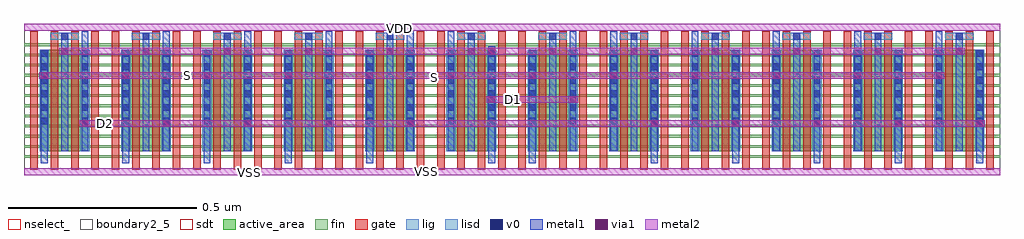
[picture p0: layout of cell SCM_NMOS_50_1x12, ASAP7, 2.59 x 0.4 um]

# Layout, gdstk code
from math import pi, radians
import gdstk
lib = gdstk.Library(unit=1e-6, precision=2.5e-10)
def R(c, l, rs):  # rectangles x0, y0, x1, y1
    for r in rs: c.add(gdstk.rectangle(r[:2], r[2:], *l))
def A(c, l, x, y, w, h, nx, ny, dx, dy):  # array of equal rectangles
    R(c, l, [(x+i*dx, y+j*dy, x+i*dx+w, y+j*dy+h) for i in range(nx) for j in range(ny)])
fin = (2, 0)
gate = (7, 0)
active_area = (11, 0)
nselect_ = (12, 0)
lig = (16, 0)
lisd = (17, 0)
v0 = (18, 0)
metal1 = (19, 0)
metal2 = (20, 0)
via1 = (21, 0)
sdt = (88, 0)
boundary2_5 = (235, 5)

m2_m1_cdns_543803786850 = lib.new_cell('M2_M1_CDNS_543803786850')
R(m2_m1_cdns_543803786850, metal1, [(-0.009,-0.014,0.009,0.014)])
R(m2_m1_cdns_543803786850, metal2, [(-0.014,-0.009,0.014,0.009)])
R(m2_m1_cdns_543803786850, via1, [(-0.009,-0.009,0.009,0.009)])

scm_nmos_50_1x12 = lib.new_cell('SCM_NMOS_50_1x12')
A(scm_nmos_50_1x12, fin, 0, 0.046, 0.216, 0.007, 12, 2, 0.216, 0.081)
A(scm_nmos_50_1x12, fin, 0, 0.154, 0.216, 0.007, 12, 8, 0.216, 0.027)
R(scm_nmos_50_1x12, fin, [(0,0.073,0.216,0.08), (0,0.073,0.216,0.08), (0.216,0.073,0.432,0.08), (0.216,0.073,0.432,0.08), (0.432,0.073,0.648,0.08), (0.432,0.073,0.648,0.08), (0.648,0.073,0.864,0.08), (0.648,0.073,0.864,0.08), (0.864,0.073,1.08,0.08), (0.864,0.073,1.08,0.08), (1.08,0.073,1.296,0.08), (1.08,0.073,1.296,0.08), (1.296,0.073,1.512,0.08), (1.296,0.073,1.512,0.08), (1.512,0.073,1.728,0.08), (1.512,0.073,1.728,0.08), (1.728,0.073,1.944,0.08), (1.728,0.073,1.944,0.08), (1.944,0.073,2.16,0.08), (1.944,0.073,2.16,0.08), (2.16,0.073,2.376,0.08), (2.16,0.073,2.376,0.08), (2.376,0.073,2.592,0.08), (2.376,0.073,2.592,0.08), (0,0.1,0.216,0.107), (0,0.1,0.216,0.107), (0.216,0.1,0.432,0.107), (0.216,0.1,0.432,0.107), (0.432,0.1,0.648,0.107), (0.432,0.1,0.648,0.107), (0.648,0.1,0.864,0.107), (0.648,0.1,0.864,0.107), (0.864,0.1,1.08,0.107), (0.864,0.1,1.08,0.107), (1.08,0.1,1.296,0.107), (1.08,0.1,1.296,0.107), (1.296,0.1,1.512,0.107), (1.296,0.1,1.512,0.107), (1.512,0.1,1.728,0.107), (1.512,0.1,1.728,0.107), (1.728,0.1,1.944,0.107), (1.728,0.1,1.944,0.107), (1.944,0.1,2.16,0.107), (1.944,0.1,2.16,0.107), (2.16,0.1,2.376,0.107), (2.16,0.1,2.376,0.107), (2.376,0.1,2.592,0.107), (2.376,0.1,2.592,0.107)])
A(scm_nmos_50_1x12, gate, 0.017, 0.014, 0.02, 0.368, 48, 1, 0.054, 0)
A(scm_nmos_50_1x12, active_area, 0.046, 0.063, 0.124, 0.27, 12, 1, 0.216, 0)
A(scm_nmos_50_1x12, nselect_, 0, 0, 0.216, 0.402, 12, 1, 0.216, 0)
A(scm_nmos_50_1x12, lig, 0.07, 0.36, 0.076, 0.018, 12, 1, 0.216, 0)
A(scm_nmos_50_1x12, lisd, 0.042, 0.063, 0.024, 0.27, 24, 1, 0.108, 0)
A(scm_nmos_50_1x12, v0, 0.045, 0.135, 0.018, 0.018, 24, 6, 0.108, 0.036)
A(scm_nmos_50_1x12, v0, 0.099, 0.36, 0.018, 0.018, 12, 1, 0.216, 0)
A(scm_nmos_50_1x12, metal1, 0.045, 0.032, 0.018, 0.301, 5, 1, 0.216, 0)
A(scm_nmos_50_1x12, metal1, 1.665, 0.032, 0.018, 0.301, 5, 1, 0.216, 0)
A(scm_nmos_50_1x12, metal1, 0.045, 0.049, 0.018, 0.028, 5, 1, 0.216, 0)
A(scm_nmos_50_1x12, metal1, 1.665, 0.049, 0.018, 0.028, 5, 1, 0.216, 0)
A(scm_nmos_50_1x12, metal1, 0.099, 0.063, 0.018, 0.315, 12, 1, 0.216, 0)
A(scm_nmos_50_1x12, metal1, 0.153, 0.063, 0.018, 0.319, 5, 1, 0.216, 0)
A(scm_nmos_50_1x12, metal1, 1.557, 0.063, 0.018, 0.319, 5, 1, 0.216, 0)
R(scm_nmos_50_1x12, metal1, [(1.233,0.032,1.251,0.333), (1.341,0.032,1.359,0.333), (1.125,0.063,1.143,0.382), (1.449,0.063,1.467,0.382), (1.449,0.187,1.467,0.215)])
A(scm_nmos_50_1x12, metal2, 0.04, 0.256, 0.028, 0.018, 5, 1, 0.216, 0)
A(scm_nmos_50_1x12, metal2, 1.552, 0.256, 0.028, 0.018, 4, 1, 0.216, 0)
R(scm_nmos_50_1x12, metal2, [(0,0,2.592,0.018), (0,0,2.592,0.018), (0.148,0.128,2.552,0.146), (0.148,0.128,2.439,0.146), (1.228,0.192,1.472,0.21), (1.228,0.192,1.364,0.21), (1.444,0.192,1.472,0.21), (1.444,0.192,1.472,0.21), (1.444,0.192,1.472,0.21), (0.04,0.256,2.444,0.274), (0.04,0.256,2.444,0.274), (0.094,0.32,2.498,0.338), (0,0.384,2.592,0.402), (0,0.384,2.592,0.402)])
A(scm_nmos_50_1x12, via1, 0.045, 0.256, 0.018, 0.018, 5, 1, 0.216, 0)
A(scm_nmos_50_1x12, via1, 1.557, 0.256, 0.018, 0.018, 4, 1, 0.216, 0)
R(scm_nmos_50_1x12, via1, [(1.449,0.192,1.467,0.21)])
A(scm_nmos_50_1x12, sdt, 0.042, 0.063, 0.024, 0.27, 24, 1, 0.108, 0)
R(scm_nmos_50_1x12, boundary2_5, [(0,0,2.592,0.402)])
scm_nmos_50_1x12.add(gdstk.Reference(m2_m1_cdns_543803786850, (1.188,0.329), rotation=pi, x_reflection=True))
scm_nmos_50_1x12.add(gdstk.Reference(m2_m1_cdns_543803786850, (0.162,0.137)))
scm_nmos_50_1x12.add(gdstk.Reference(m2_m1_cdns_543803786850, (1.134,0.265), rotation=pi))
scm_nmos_50_1x12.add(gdstk.Reference(m2_m1_cdns_543803786850, (2.538,0.137)))
scm_nmos_50_1x12.add(gdstk.Reference(m2_m1_cdns_543803786850, (2.322,0.137)))
scm_nmos_50_1x12.add(gdstk.Reference(m2_m1_cdns_543803786850, (2.106,0.137)))
scm_nmos_50_1x12.add(gdstk.Reference(m2_m1_cdns_543803786850, (1.89,0.137)))
scm_nmos_50_1x12.add(gdstk.Reference(m2_m1_cdns_543803786850, (1.674,0.137)))
scm_nmos_50_1x12.add(gdstk.Reference(m2_m1_cdns_543803786850, (0.378,0.137)))
scm_nmos_50_1x12.add(gdstk.Reference(m2_m1_cdns_543803786850, (0.594,0.137)))
scm_nmos_50_1x12.add(gdstk.Reference(m2_m1_cdns_543803786850, (0.81,0.137)))
scm_nmos_50_1x12.add(gdstk.Reference(m2_m1_cdns_543803786850, (1.026,0.137)))
scm_nmos_50_1x12.add(gdstk.Reference(m2_m1_cdns_543803786850, (2.43,0.265)))
scm_nmos_50_1x12.add(gdstk.Reference(m2_m1_cdns_543803786850, (1.62,0.329)))
scm_nmos_50_1x12.add(gdstk.Reference(m2_m1_cdns_543803786850, (1.242,0.201)))
scm_nmos_50_1x12.add(gdstk.Reference(m2_m1_cdns_543803786850, (0.54,0.329)))
scm_nmos_50_1x12.add(gdstk.Reference(m2_m1_cdns_543803786850, (2.052,0.329)))
scm_nmos_50_1x12.add(gdstk.Reference(m2_m1_cdns_543803786850, (1.836,0.329)))
scm_nmos_50_1x12.add(gdstk.Reference(m2_m1_cdns_543803786850, (0.108,0.329)))
scm_nmos_50_1x12.add(gdstk.Reference(m2_m1_cdns_543803786850, (0.324,0.329)))
scm_nmos_50_1x12.add(gdstk.Reference(m2_m1_cdns_543803786850, (0.756,0.329)))
scm_nmos_50_1x12.add(gdstk.Reference(m2_m1_cdns_543803786850, (0.972,0.329)))
scm_nmos_50_1x12.add(gdstk.Reference(m2_m1_cdns_543803786850, (1.242,0.329), rotation=pi, x_reflection=True))
scm_nmos_50_1x12.add(gdstk.Reference(m2_m1_cdns_543803786850, (1.404,0.329)))
scm_nmos_50_1x12.add(gdstk.Reference(m2_m1_cdns_543803786850, (2.484,0.329)))
scm_nmos_50_1x12.add(gdstk.Reference(m2_m1_cdns_543803786850, (1.35,0.265), x_reflection=True))
scm_nmos_50_1x12.add(gdstk.Reference(m2_m1_cdns_543803786850, (2.268,0.329)))
scm_nmos_50_1x12.add(gdstk.Label('VSS', (1.07,0.011), layer=20, texttype=0))
scm_nmos_50_1x12.add(gdstk.Label('S', (1.091,0.259), layer=20, texttype=0))
scm_nmos_50_1x12.add(gdstk.Label('D1', (1.299,0.201), layer=20, texttype=0))
scm_nmos_50_1x12.add(gdstk.Label('VDD', (0.998,0.389), layer=20, texttype=0))
scm_nmos_50_1x12.add(gdstk.Label('VDD', (1.024,0.396), layer=20, texttype=0))
scm_nmos_50_1x12.add(gdstk.Label('D2', (0.216,0.138), layer=20, texttype=0))
scm_nmos_50_1x12.add(gdstk.Label('D1', (1.31,0.198), layer=20, texttype=0))
scm_nmos_50_1x12.add(gdstk.Label('S', (0.433,0.266), layer=20, texttype=0))
scm_nmos_50_1x12.add(gdstk.Label('VSS', (0.6,0.006), layer=20, texttype=0))
scm_nmos_50_1x12.add(gdstk.Label('D2', (0.23,0.141), layer=20, texttype=0))

lib.write_gds('SCM_NMOS_50_1x12.gds')
